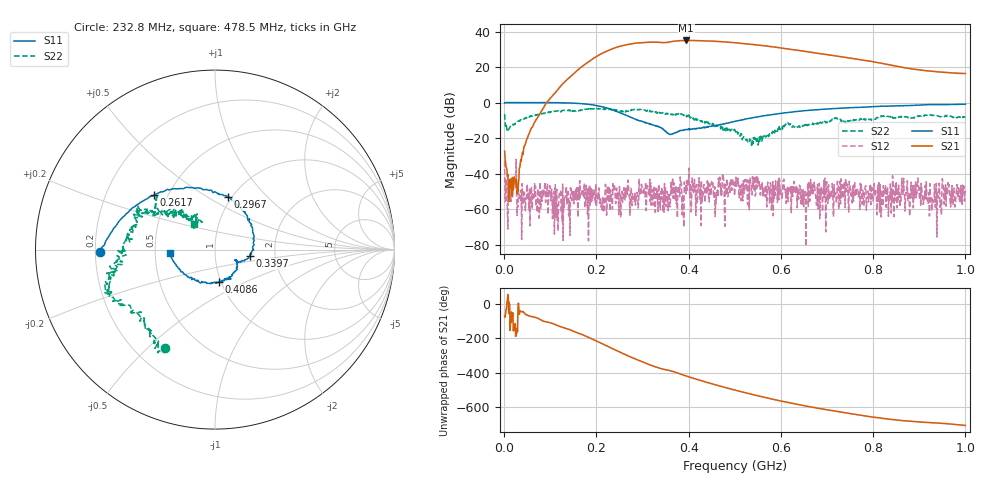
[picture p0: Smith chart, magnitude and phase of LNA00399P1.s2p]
! Created with skrf 1.9.0 (http://scikit-rf.org).
# Hz S RI R 50.0
!freq ReS11 ImS11 ReS21 ImS21 ReS12 ImS12 ReS22 ImS22
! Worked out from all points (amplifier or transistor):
!   1001 points, 1 MHz to 1 GHz, reference 50 ohm
!   highest |S21| = 35.0 dB at 394.6 MHz (marker M1)
!   |S21| within 3 dB of that: 255.5 MHz to 563.4 MHz (307.9 MHz wide, 75.2 % of centre)
!   unconditionally stable (mu >= 1): 236.1 MHz to 292.5 MHz; 315.7 MHz to 400.2 MHz; 400.9 MHz to end of sweep (the widest 3 of 54)
!   at 166.8 MHz: K = 1.90, MAG = 30.2 dB, |S12| = -51.3 dB
!   at 500.5 MHz: K = 2.25, MAG = 34.4 dB, |S12| = -47.7 dB
!   at 1 GHz: K = 4.45, MAG = 24.6 dB, |S12| = -51.7 dB
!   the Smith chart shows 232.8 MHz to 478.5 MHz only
!   S11 on the Smith chart (normalised r, x): 232.8 MHz: 0.22, -0.01; 261.7 MHz: 0.42, +0.32; 296.7 MHz: 0.95, +0.62; 339.7 MHz: 1.48, -0.11; 408.6 MHz: 0.98, -0.37; 478.5 MHz: 0.60, -0.03
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1000000  0.9765 0.0124  0.0153 -0.0401  -0.0113 0.0198  0.3684 0.298
1.08892e8  0.5287 -0.8452  -0.8591 -1.571  7.29e-05 0.000183  0.4225 -0.372
1.67833e8  -0.2185 -0.9063  -10.19 -0.457  0.00268 -0.00138  0.0292 -0.6266
2.06794e8  -0.6481 -0.4542  -16.17 15.56  -0.000829 -0.00119  -0.1886 -0.6324
2.32768e8  -0.6405 -0.0122  -6.822 31.47  0.00141 0.00204  -0.2802 -0.5488
2.61739e8  -0.3385 0.304  16.9 38.07  -0.00156 -0.000792  -0.4351 -0.3523
2.96704e8  0.0698 0.294  43.63 21.42  -0.000667 0.00268  -0.6102 -0.1786
3.16684e8  0.1901 0.1545  50.14 4.485  -0.00163 4.88e-06  -0.5777 -0.1067
3.34666e8  0.2151 -0.00323  48.96 -10.59  -0.000692 0.00467  -0.5042 -0.00358
3.39661e8  0.1953 -0.0343  47.57 -13.72  -0.00231 0.00209  -0.5109 0.0184
3.69631e8  0.1226 -0.0651  43.48 -32.27  -0.0016 0.00119  -0.4358 0.1566
3.94606e8  0.0847 -0.1522  28.82 -48.57  0.00114 0.00245  -0.3785 0.2058
4.08592e8  0.0236 -0.18  17.99 -53.32  0.00338 0.00378  -0.2978 0.2025
4.41559e8  -0.1267 -0.1592  -7.466 -54.34  0.00425 0.000276  -0.1945 0.2097
4.78522e8  -0.2522 -0.0217  -30.08 -41.56  -0.00024 -0.000219  -0.1154 0.143
5.005e8  -0.2816 0.0928  -38.22 -30.63  0.0019 0.00366  -0.1023 0.128
5.4046e8  -0.2282 0.3027  -42.25 -9.005  0.00436 0.000954  -0.1018 0.0154
5.88412e8  -0.0428 0.4739  -34.66 11.39  0.00365 -0.00508  -0.1434 -0.062
6.67333e8  0.3179 0.5222  -12.77 22.44  0.00416 0.00202  -0.2455 0.00854
7.53247e8  0.6217 0.3684  2.753 17.44  0.00229 -0.00243  -0.2895 0.0974
8.34166e8  0.7854 0.1451  7.483 9.008  0.00234 0.000271  -0.3637 0.1738
1e9  0.8131 -0.3926  6.425 1.539  -0.00206 0.0016  -0.064 0.3955
